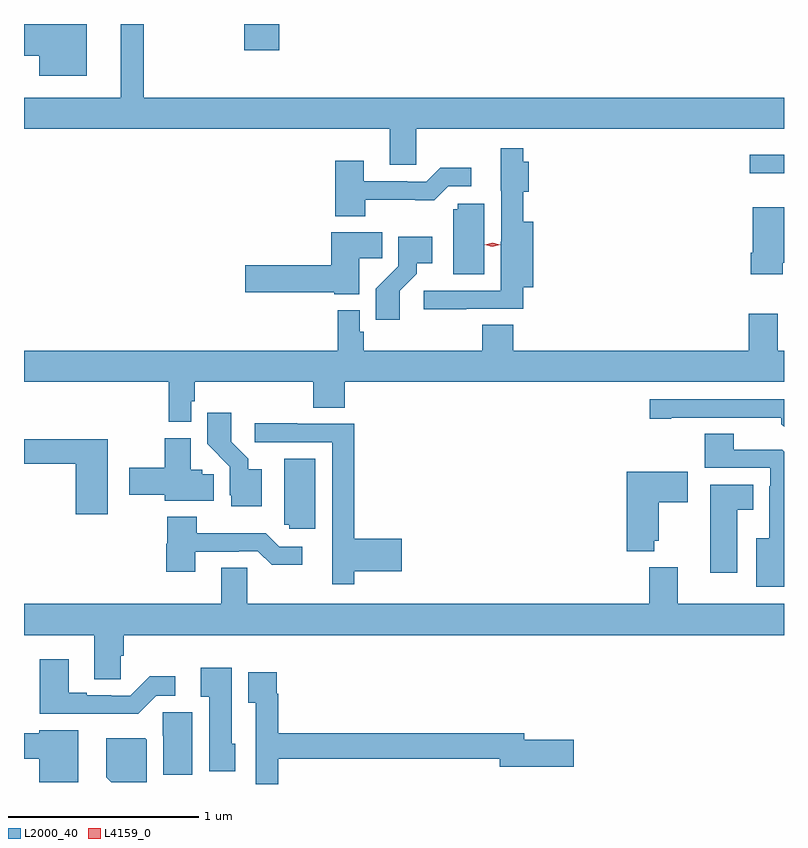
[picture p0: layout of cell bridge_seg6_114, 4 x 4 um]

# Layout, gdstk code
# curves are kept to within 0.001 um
import gdstk
lib = gdstk.Library(unit=1e-6, precision=1e-09)
def R(c, l, rs):  # rectangles x0, y0, x1, y1
    for r in rs: c.add(gdstk.rectangle(r[:2], r[2:], *l))
def P(c, l, *ps):  # polygons
    for p in ps: c.add(gdstk.Polygon(p, *l))
L2000_40 = (2000, 40)
L4159_0 = (4159, 0)

bridge_seg6_114 = lib.new_cell('bridge_seg6_114')
R(bridge_seg6_114, L2000_40, [(415.077,961.755,415.258,961.852), (412.418,962.403,412.601,962.54)])
P(bridge_seg6_114, L2000_40, [(413.322,961.988),(415.258,961.988),(415.258,962.152),(411.889,962.152),(411.889,962.54),(411.767,962.54),(411.767,962.152),(411.258,962.152),(411.258,961.988),(413.183,961.988),(413.183,961.798),(413.322,961.798)],
  [(411.589,962.54),(411.258,962.54),(411.258,962.372),(411.338,962.372),(411.338,962.267),(411.589,962.267)],
  [(413.585,961.041),(413.885,961.041),(413.885,961.154),(413.939,961.154),(413.939,961.498),(413.885,961.498),(413.885,961.658),(413.915,961.658),(413.915,961.816),(413.885,961.816),(413.885,961.885),(413.768,961.885),(413.768,961.662),(413.769,961.662),(413.769,961.394),(413.768,961.394),(413.768,961.137),(413.361,961.137),(413.361,961.039),(413.585,961.039)],
  [(413.055,961.614),(413.417,961.613),(413.49,961.686),(413.611,961.686),(413.611,961.783),(413.449,961.783),(413.376,961.71),(413.276,961.71),(413.276,961.713),(413.047,961.713),(413.047,961.819),(412.895,961.819),(412.895,961.529),(413.055,961.529)],
  [(413.68,961.593),(413.541,961.593),(413.541,961.566),(413.516,961.566),(413.516,961.222),(413.68,961.222)],
  [(415.252,961.284),(415.258,961.284),(415.258,961.576),(415.094,961.576),(415.094,961.336),(415.082,961.336),(415.082,961.224),(415.252,961.224)],
  [(413.023,961.306),(413.144,961.306),(413.144,961.444),(412.874,961.444),(412.874,961.271),(412.422,961.271),(412.422,961.129),(412.89,961.129),(412.89,961.118),(413.023,961.118)],
  [(413.236,961.135),(413.326,961.225),(413.326,961.28),(413.407,961.28),(413.407,961.42),(413.229,961.42),(413.229,961.265),(413.11,961.146),(413.11,960.984),(413.236,960.984)],
  [(412.137,960.555),(412.157,960.555),(412.157,960.656),(412.781,960.656),(412.781,960.52),(412.946,960.52),(412.946,960.656),(415.258,960.656),(415.258,960.82),(415.225,960.82),(415.225,961.015),(415.073,961.015),(415.073,960.82),(413.834,960.82),(413.834,960.956),(413.669,960.956),(413.669,960.82),(413.045,960.82),(413.045,960.921),(413.025,960.921),(413.025,961.033),(412.909,961.033),(412.909,960.82),(411.258,960.82),(411.258,960.656),(412.021,960.656),(412.021,960.446),(412.137,960.446)],
  [(415.258,960.564),(414.552,960.564),(414.552,960.463),(414.664,960.463),(414.664,960.468),(415.244,960.468),(415.244,960.434),(415.258,960.42)],
  [(412.51,960.196),(412.438,960.196),(412.438,960.251),(412.348,960.341),(412.348,960.493),(412.222,960.493),(412.222,960.33),(412.341,960.211),(412.341,960.06),(412.349,960.06),(412.349,960.003),(412.51,960.003)],
  [(412.997,959.66),(413.245,959.66),(413.245,959.831),(412.997,959.831),(412.997,960.435),(412.697,960.435),(412.697,960.438),(412.473,960.438),(412.473,960.339),(412.881,960.339),(412.881,959.814),(412.88,959.814),(412.88,959.592),(412.997,959.592)],
  [(415.258,960.29),(415.248,960.3),(414.994,960.3),(414.994,960.383),(414.842,960.383),(414.842,960.204),(415.185,960.204),(415.185,960.107),(415.181,960.107),(415.181,959.833),(415.112,959.833),(415.112,959.579),(415.258,959.579)],
  [(412.256,960.17),(412.197,960.17),(412.197,960.195),(412.135,960.195),(412.135,960.361),(411.998,960.361),(411.998,960.204),(411.813,960.204),(411.813,960.062),(411.998,960.062),(411.998,960.032),(412.256,960.032)],
  [(411.7,960.355),(411.258,960.355),(411.258,960.226),(411.53,960.226),(411.53,959.961),(411.7,959.961)],
  [(412.792,960.253),(412.628,960.253),(412.628,959.904),(412.653,959.904),(412.653,959.883),(412.792,959.883)],
  [(414.576,959.819),(414.598,959.819),(414.598,960.022),(414.751,960.022),(414.751,960.184),(414.431,960.184),(414.431,959.765),(414.576,959.765)],
  [(415.012,959.984),(415.096,959.984),(415.096,960.115),(414.869,960.115),(414.869,959.652),(415.012,959.652)],
  [(412.159,959.763),(412.388,959.763),(412.388,959.766),(412.488,959.766),(412.561,959.693),(412.723,959.693),(412.723,959.79),(412.602,959.79),(412.531,959.861),(412.167,959.861),(412.167,959.947),(412.012,959.947),(412.012,959.805),(412.007,959.805),(412.007,959.658),(412.159,959.658)],
  [(411.768,959.214),(411.782,959.214),(411.782,959.324),(415.258,959.324),(415.258,959.488),(414.7,959.488),(414.7,959.68),(414.548,959.68),(414.548,959.488),(412.434,959.488),(412.434,959.678),(412.295,959.678),(412.295,959.488),(411.258,959.488),(411.258,959.324),(411.629,959.324),(411.629,959.092),(411.768,959.092)],
  [(411.954,959.004),(412.054,959.004),(412.054,959.107),(411.919,959.107),(411.816,959.004),(411.716,959.004),(411.716,959.007),(411.589,959.007),(411.589,959.02),(411.493,959.02),(411.493,959.197),(411.341,959.197),(411.341,958.91),(411.859,958.91)],
  [(412.369,958.752),(412.351,958.752),(412.351,959.152),(412.187,959.152),(412.187,958.998),(412.232,958.998),(412.232,958.608),(412.369,958.608)],
  [(412.595,958.672),(413.762,958.672),(413.762,958.63),(414.151,958.63),(414.151,958.772),(413.89,958.772),(413.89,958.808),(412.595,958.808),(412.595,959.015),(412.588,959.015),(412.588,959.128),(412.439,959.128),(412.439,958.967),(412.479,958.967),(412.479,958.54),(412.595,958.54)],
  [(412.144,958.917),(411.988,958.917),(411.988,958.794),(411.992,958.794),(411.992,958.59),(412.144,958.59)],
  [(411.544,958.822),(411.338,958.822),(411.338,958.808),(411.258,958.808),(411.258,958.672),(411.338,958.672),(411.338,958.55),(411.544,958.55)],
  [(411.904,958.772),(411.896,958.78),(411.692,958.78),(411.692,958.576),(411.718,958.55),(411.904,958.55)])
P(bridge_seg6_114, L4159_0, [(413.723,961.368),(413.684,961.378),(413.684,961.379),(413.684,961.379),(413.724,961.388),(413.764,961.378),(413.764,961.377),(413.764,961.377)])

lib.write_gds('bridge_seg6_114.gds')
